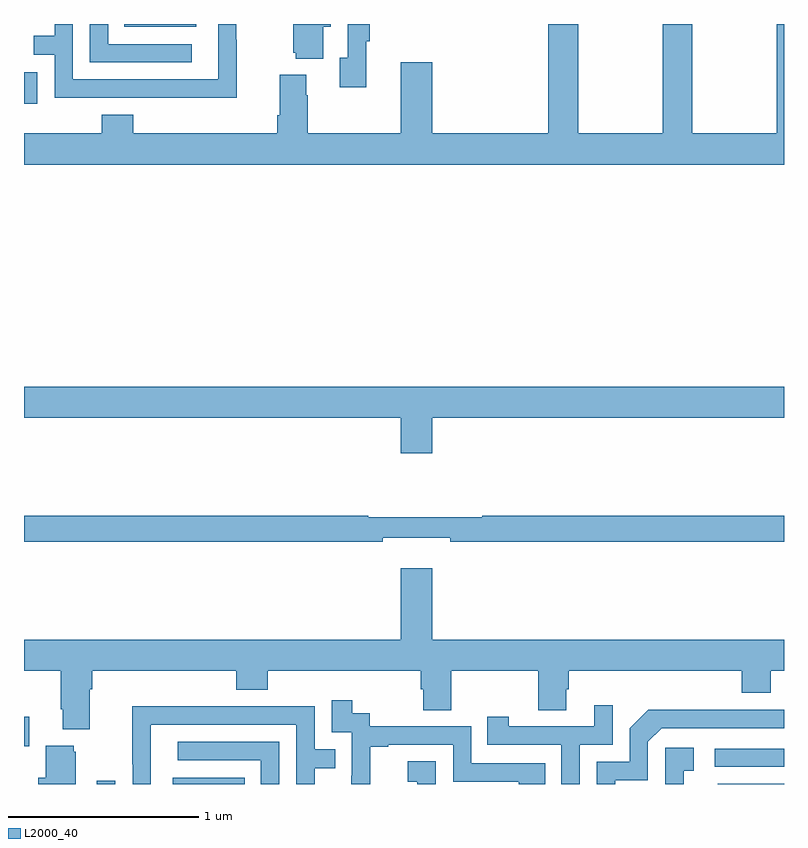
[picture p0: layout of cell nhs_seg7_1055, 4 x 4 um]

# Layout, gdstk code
import gdstk
lib = gdstk.Library(unit=1e-6, precision=1e-09)
def R(c, l, rs):  # rectangles x0, y0, x1, y1
    for r in rs: c.add(gdstk.rectangle(r[:2], r[2:], *l))
def P(c, l, *ps):  # polygons
    for p in ps: c.add(gdstk.Polygon(p, *l))
L2000_40 = (2000, 40)

nhs_seg7_1055 = lib.new_cell('nhs_seg7_1055')
R(nhs_seg7_1055, L2000_40, [(187.383,1020,187.479,1020.016), (187.784,1020,188.162,1020.034), (190.652,1020,191,1020.001), (190.635,1020.09,191,1020.186), (187,1020.199,187.027,1020.355), (187,1023.579,187.071,1023.747), (187.528,1023.986,187.906,1024)])
P(nhs_seg7_1055, L2000_40, [(191,1024),(190.963,1024),(190.963,1023.424),(190.518,1023.424),(190.518,1024),(190.363,1024),(190.363,1023.424),(189.918,1023.424),(189.918,1024),(189.758,1024),(189.758,1023.424),(189.148,1023.424),(189.148,1023.799),(188.984,1023.799),(188.984,1023.424),(188.493,1023.424),(188.493,1023.626),(188.485,1023.626),(188.485,1023.733),(188.345,1023.733),(188.345,1023.52),(188.333,1023.52),(188.333,1023.424),(187.574,1023.424),(187.574,1023.523),(187.409,1023.523),(187.409,1023.424),(187,1023.424),(187,1023.26),(191,1023.26)],
  [(188.575,1023.986),(188.614,1023.986),(188.614,1024),(188.417,1024),(188.417,1023.849),(188.429,1023.849),(188.429,1023.818),(188.575,1023.818)],
  [(187.882,1023.894),(187.443,1023.894),(187.443,1024),(187.347,1024),(187.347,1023.798),(187.882,1023.798)],
  [(188.801,1023.91),(188.819,1023.91),(188.819,1024),(188.703,1024),(188.703,1023.822),(188.663,1023.822),(188.663,1023.666),(188.801,1023.666)],
  [(188.121,1023.917),(188.118,1023.917),(188.118,1024),(188.022,1024),(188.022,1023.708),(187.257,1023.708),(187.257,1024),(187.161,1024),(187.161,1023.938),(187.051,1023.938),(187.051,1023.837),(187.161,1023.837),(187.161,1023.612),(187.657,1023.612),(187.657,1023.611),(188.121,1023.611)],
  [(189.148,1021.928),(191,1021.928),(191,1022.092),(187,1022.092),(187,1021.928),(188.984,1021.928),(188.984,1021.74),(189.148,1021.74)],
  [(188.888,1021.295),(189.244,1021.295),(189.244,1021.276),(191,1021.276),(191,1021.412),(189.413,1021.412),(189.413,1021.405),(188.813,1021.405),(188.813,1021.412),(187,1021.412),(187,1021.276),(188.888,1021.276)],
  [(187.345,1020.5),(187.358,1020.5),(187.358,1020.596),(188.117,1020.596),(188.117,1020.497),(188.282,1020.497),(188.282,1020.596),(189.089,1020.596),(189.089,1020.498),(189.101,1020.498),(189.101,1020.388),(189.249,1020.388),(189.249,1020.596),(189.706,1020.596),(189.706,1020.388),(189.853,1020.388),(189.853,1020.498),(189.866,1020.498),(189.866,1020.596),(190.778,1020.596),(190.778,1020.479),(190.93,1020.479),(190.93,1020.596),(191,1020.596),(191,1020.76),(189.148,1020.76),(189.148,1021.135),(188.984,1021.135),(188.984,1020.76),(187,1020.76),(187,1020.596),(187.193,1020.596),(187.193,1020.394),(187.205,1020.394),(187.205,1020.287),(187.345,1020.287)],
  [(188.822,1020.195),(188.917,1020.195),(188.917,1020.207),(189.258,1020.207),(189.258,1020.012),(189.603,1020.012),(189.603,1020),(189.743,1020),(189.743,1020.108),(189.354,1020.108),(189.354,1020.303),(188.82,1020.303),(188.82,1020.372),(188.728,1020.372),(188.728,1020.442),(188.619,1020.442),(188.619,1020.273),(188.724,1020.273),(188.724,1020.044),(188.723,1020.044),(188.723,1020),(188.822,1020)],
  [(189.924,1020.207),(190.098,1020.207),(190.098,1020.415),(190.001,1020.415),(190.001,1020.303),(189.55,1020.303),(189.55,1020.355),(189.439,1020.355),(189.439,1020.207),(189.828,1020.207),(189.828,1020),(189.924,1020)],
  [(187.668,1020.312),(188.433,1020.312),(188.433,1020),(188.529,1020),(188.529,1020.082),(188.639,1020.082),(188.639,1020.183),(188.529,1020.183),(188.529,1020.408),(188.033,1020.408),(188.033,1020.41),(187.57,1020.41),(187.57,1020.103),(187.572,1020.103),(187.572,1020),(187.668,1020)],
  [(190.111,1020.021),(190.284,1020.021),(190.284,1020.222),(190.356,1020.294),(191,1020.294),(191,1020.39),(190.694,1020.39),(190.694,1020.392),(190.286,1020.392),(190.188,1020.294),(190.188,1020.117),(190.014,1020.117),(190.014,1020),(190.111,1020)],
  [(188.343,1020.222),(187.809,1020.222),(187.809,1020.126),(188.247,1020.126),(188.247,1020),(188.343,1020)],
  [(187.273,1020.171),(187.262,1020.171),(187.262,1020.202),(187.115,1020.202),(187.115,1020.034),(187.076,1020.034),(187.076,1020),(187.273,1020)],
  [(190.472,1020.069),(190.525,1020.069),(190.525,1020.19),(190.374,1020.19),(190.374,1020),(190.472,1020)],
  [(189.168,1020.121),(189.021,1020.121),(189.021,1020.011),(189.07,1020.011),(189.07,1020),(189.168,1020)])

lib.write_gds('nhs_seg7_1055.gds')
